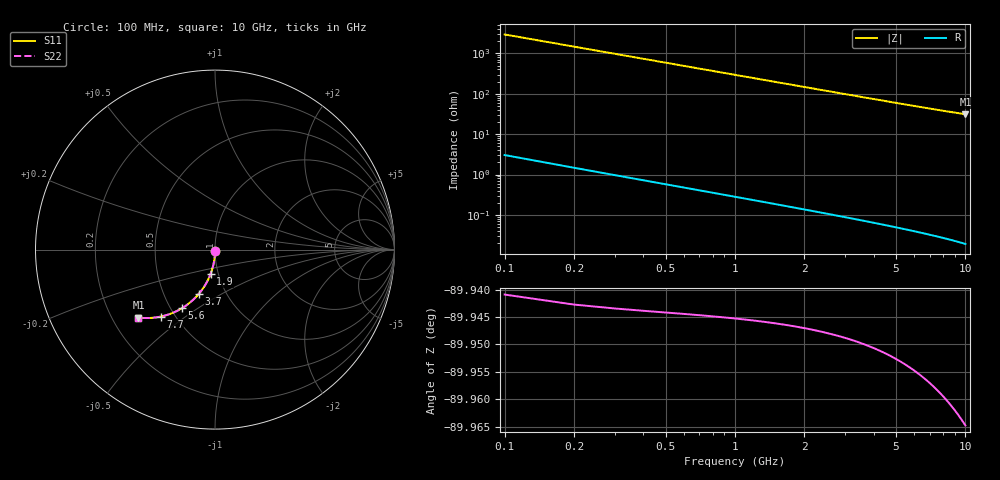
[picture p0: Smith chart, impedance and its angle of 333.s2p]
# Hz S RI R 50.00
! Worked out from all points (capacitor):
!   100 points, 100 MHz to 10 GHz, reference 50 ohm
!   read as one part in shunt: C = 540 fF near 100 MHz
!   lowest |Z| = 31.1 ohm at 10 GHz (marker M1)
!   S11 on the Smith chart (normalised r, x): 100 MHz: 1.00, -0.01; 1.9 GHz: 0.92, -0.25; 3.7 GHz: 0.75, -0.39; 5.6 GHz: 0.57, -0.43; 7.7 GHz: 0.42, -0.41; 10 GHz: 0.31, -0.35
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1e8  0.000349 -0.00734  0.9995 -0.00962  0.9995 -0.00962  0.000349 -0.00734
2e8  0.000132 -0.0147  0.9993 -0.0192  0.9993 -0.0192  0.000132 -0.0147
3e8  -0.000227 -0.022  0.9989 -0.0288  0.9989 -0.0288  -0.000227 -0.022
4e8  -0.000728 -0.0293  0.9984 -0.0384  0.9984 -0.0384  -0.000728 -0.0293
5e8  -0.00137 -0.0366  0.9977 -0.048  0.9977 -0.048  -0.00137 -0.0366
6e8  -0.00215 -0.0439  0.9969 -0.0576  0.9969 -0.0576  -0.00215 -0.0439
8e8  -0.00413 -0.0585  0.9948 -0.0767  0.9948 -0.0767  -0.00413 -0.0585
1.1e9  -0.00813 -0.08  0.9907 -0.1051  0.9907 -0.1051  -0.00813 -0.08
1.4e9  -0.0134 -0.1013  0.9852 -0.1332  0.9852 -0.1332  -0.0134 -0.1013
1.8e9  -0.0221 -0.1289  0.9761 -0.17  0.9761 -0.17  -0.0221 -0.1289
1.9e9  -0.0247 -0.1357  0.9735 -0.179  0.9735 -0.179  -0.0247 -0.1357
2.2e9  -0.0329 -0.1557  0.9649 -0.2059  0.9649 -0.2059  -0.0329 -0.1557
2.6e9  -0.0456 -0.1813  0.9517 -0.2407  0.9517 -0.2407  -0.0456 -0.1813
3.4e9  -0.076 -0.2288  0.92 -0.3065  0.92 -0.3065  -0.076 -0.2288
3.7e9  -0.0889 -0.245  0.9065 -0.3297  0.9065 -0.3297  -0.0889 -0.245
4.4e9  -0.1218 -0.2796  0.8722 -0.3804  0.8722 -0.3804  -0.1218 -0.2796
5.1e9  -0.1577 -0.309  0.8345 -0.4261  0.8345 -0.4261  -0.1577 -0.309
5.6e9  -0.1847 -0.3268  0.806 -0.4556  0.806 -0.4556  -0.1847 -0.3268
6.7e9  -0.2462 -0.3567  0.7407 -0.5115  0.7407 -0.5115  -0.2462 -0.3567
7.7e9  -0.3029 -0.3732  0.68 -0.5519  0.68 -0.5519  -0.3029 -0.3732
8.4e9  -0.342 -0.3793  0.6377 -0.5749  0.6377 -0.5749  -0.342 -0.3793
1e10  -0.4267 -0.3785  0.5443 -0.6133  0.5443 -0.6133  -0.4267 -0.3785
